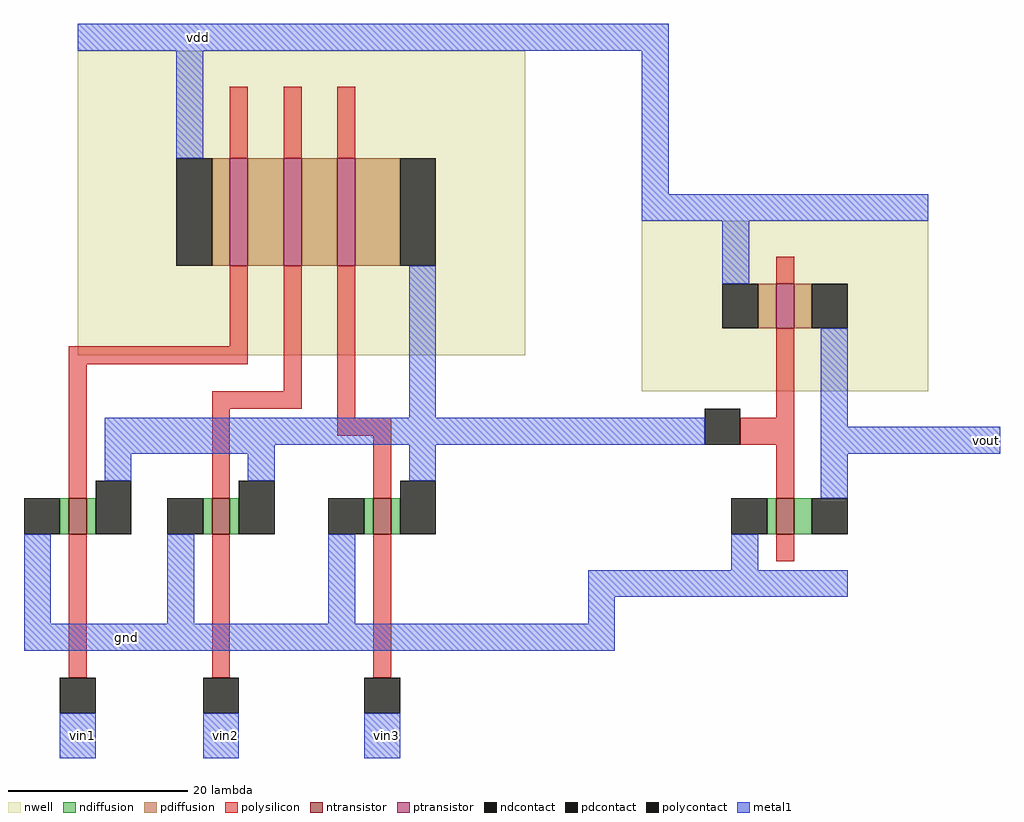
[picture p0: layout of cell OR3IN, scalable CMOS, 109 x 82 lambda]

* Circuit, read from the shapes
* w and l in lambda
.subckt OR3IN gnd vdd vin1 vin2 vin3 vout
M1 NOT_0/in vin1 gnd VSUBS nfet w=4 l=2
M2 NOT_0/in vin2 gnd VSUBS nfet w=4 l=2
M3 NOT_0/in vin3 gnd VSUBS nfet w=4 l=2
M4 vout NOT_0/in gnd VSUBS nfet w=4 l=2
M5 n1 vin1 vdd n2 pfet w=12 l=2
M6 n3 vin2 n1 n2 pfet w=12 l=2
M7 NOT_0/in vin3 n3 n2 pfet w=12 l=2
M8 vout NOT_0/in vdd n4 pfet w=5 l=2
.ends

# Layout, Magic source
magic
tech scmos
<< nwell >>
rect -19 -9 31 25
<< ntransistor >>
rect -20 -29 -18 -25
rect -4 -29 -2 -25
rect 14 -29 16 -25
<< ptransistor >>
rect -2 1 0 13
rect 4 1 6 13
rect 10 1 12 13
<< ndiffusion >>
rect -21 -29 -20 -25
rect -18 -29 -17 -25
rect -5 -29 -4 -25
rect -2 -29 -1 -25
rect 13 -29 14 -25
rect 16 -29 17 -25
<< pdiffusion >>
rect -4 1 -2 13
rect 0 1 4 13
rect 6 1 10 13
rect 12 1 17 13
<< ndcontact >>
rect -25 -29 -21 -25
rect -17 -29 -13 -23
rect -9 -29 -5 -25
rect -1 -29 3 -23
rect 9 -29 13 -25
rect 17 -29 21 -23
<< pdcontact >>
rect -8 1 -4 13
rect 17 1 21 13
<< polysilicon >>
rect -2 13 0 21
rect 4 13 6 21
rect 10 13 12 21
rect -2 -8 0 1
rect -20 -10 0 -8
rect -20 -25 -18 -10
rect 4 -13 6 1
rect -4 -15 6 -13
rect -4 -25 -2 -15
rect 10 -16 12 1
rect 10 -18 16 -16
rect 14 -25 16 -18
rect -20 -45 -18 -29
rect -4 -45 -2 -29
rect 14 -45 16 -29
<< polycontact >>
rect -21 -49 -17 -45
rect -5 -49 -1 -45
rect 13 -49 17 -45
<< metal1 >>
rect -19 25 47 28
rect -8 13 -5 25
rect 44 6 47 25
rect 18 -16 21 1
rect -16 -19 49 -16
rect -16 -20 3 -19
rect -16 -23 -13 -20
rect 0 -23 3 -20
rect 18 -23 21 -19
rect 70 -20 84 -17
rect -25 -39 -22 -29
rect -9 -39 -6 -29
rect 9 -39 12 -29
rect 38 -36 54 -33
rect 38 -39 41 -36
rect -25 -42 41 -39
rect -21 -54 -17 -49
rect -5 -54 -1 -49
rect 13 -54 17 -49
use NOT  NOT_0
transform 1 0 51 0 1 -10
box -7 -26 25 19
<< labels >>
rlabel metal1 -6 26 -5 27 5 vdd
rlabel metal1 -14 -41 -13 -40 1 gnd
rlabel metal1 -19 -52 -18 -51 1 vin1
rlabel metal1 -3 -52 -2 -51 1 vin2
rlabel metal1 15 -52 16 -51 1 vin3
rlabel metal1 82 -19 83 -18 7 vout
<< end >>

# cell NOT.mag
magic
tech scmos
<< nwell >>
rect -7 -3 25 16
<< ntransistor >>
rect 8 -19 10 -15
<< ptransistor >>
rect 8 4 10 9
<< ndiffusion >>
rect 7 -19 8 -15
rect 10 -19 12 -15
<< pdiffusion >>
rect 6 4 8 9
rect 10 4 12 9
<< ndcontact >>
rect 3 -19 7 -15
rect 12 -19 16 -15
<< pdcontact >>
rect 2 4 6 9
rect 12 4 16 9
<< polysilicon >>
rect 8 9 10 12
rect 8 -6 10 4
rect 4 -9 10 -6
rect 8 -15 10 -9
rect 8 -22 10 -19
<< polycontact >>
rect 0 -9 4 -5
<< metal1 >>
rect -7 16 25 19
rect 2 9 5 16
rect -3 -9 0 -6
rect 13 -7 16 4
rect 13 -10 20 -7
rect 13 -15 16 -10
rect 3 -23 6 -19
rect 2 -26 16 -23
<< labels >>
rlabel metal1 6 17 9 18 5 vdd
rlabel metal1 -3 -8 -2 -7 3 in
rlabel metal1 18 -9 19 -8 1 out
rlabel metal1 9 -25 10 -24 1 gnd
<< end >>
